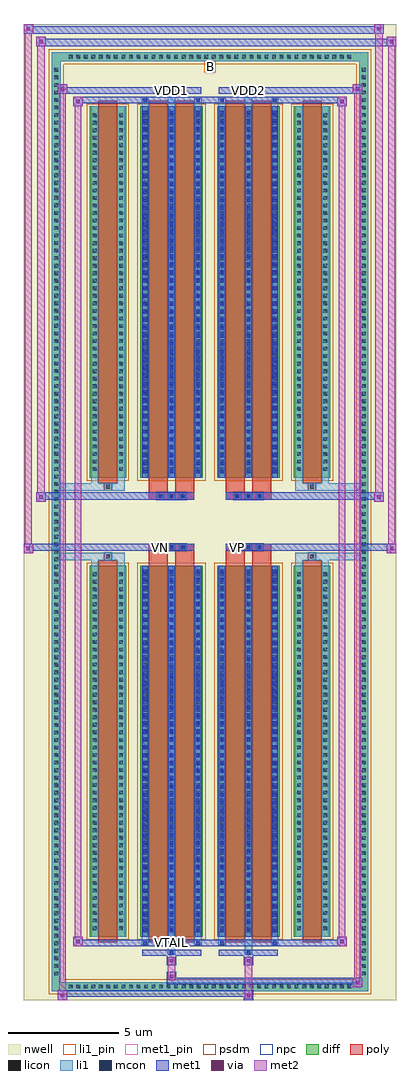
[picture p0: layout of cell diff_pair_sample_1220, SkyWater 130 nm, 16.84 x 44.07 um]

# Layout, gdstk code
import gdstk
lib = gdstk.Library(unit=1e-6, precision=5e-09)
def R(c, l, rs):  # rectangles x0, y0, x1, y1
    for r in rs: c.add(gdstk.rectangle(r[:2], r[2:], *l))
def A(c, l, x, y, w, h, nx, ny, dx, dy):  # array of equal rectangles
    R(c, l, [(x+i*dx, y+j*dy, x+i*dx+w, y+j*dy+h) for i in range(nx) for j in range(ny)])
def P(c, l, *ps):  # polygons
    for p in ps: c.add(gdstk.Polygon(p, *l))
nwell = (64, 20)
diff = (65, 20)
poly = (66, 20)
licon = (66, 44)
li1_pin = (67, 16)
li1 = (67, 20)
mcon = (67, 44)
met1_pin = (68, 16)
met1 = (68, 20)
via = (68, 44)
met2 = (69, 20)
psdm = (94, 20)
npc = (95, 20)

diff_pair_sample_1220 = lib.new_cell('diff_pair_sample_1220')
R(diff_pair_sample_1220, nwell, [(-8.42,-21.6,8.42,22.47), (-5.74,-19.79,-0.01,-0.795), (0.01,-19.79,5.74,-0.795), (-5.74,0.795,-0.01,19.79), (0.01,0.795,5.74,19.79)])
A(diff_pair_sample_1220, diff, -6.495, -21.2, 0.41, 0.41, 38, 2, 0.34, 41.99)
A(diff_pair_sample_1220, diff, -7.15, -20.605, 0.41, 0.41, 1, 121, 0, 0.34)
A(diff_pair_sample_1220, diff, 6.74, -20.605, 0.41, 0.41, 1, 121, 0, 0.34)
R(diff_pair_sample_1220, diff, [(-6.495,-21.2,6.495,-20.79), (-7.15,-20.605,-6.74,20.605), (6.74,-20.605,7.15,20.605), (-5.43,-18.745,-3.79,-1.985), (-3.15,-18.745,-0.32,-1.985), (0.32,-18.745,3.15,-1.985), (3.79,-18.745,5.43,-1.985), (-5.43,1.985,-3.79,18.745), (-3.15,1.985,-0.32,18.745), (0.32,1.985,3.15,18.745), (3.79,1.985,5.43,18.745), (-6.495,20.79,6.495,21.2)])
P(diff_pair_sample_1220, diff, [(7.15,21.2),(-7.15,21.2),(-7.15,-20.79),(-6.74,-20.79),(-6.74,20.79),(6.74,20.79),(6.74,-20.79),(-6.74,-20.79),(-7.15,-20.79),(-7.15,-21.2),(7.15,-21.2)])
A(diff_pair_sample_1220, poly, -2.4, -1.325, 0.33, 0.33, 3, 2, 0.5, 2.32)
A(diff_pair_sample_1220, poly, 1.07, -1.325, 0.33, 0.33, 3, 2, 0.5, 2.32)
R(diff_pair_sample_1220, poly, [(-5.04,-18.995,-4.18,-1.735), (-2.76,-18.995,-1.9,-1.735), (-1.57,-18.995,-0.71,-1.735), (0.71,-18.995,1.57,-1.735), (1.9,-18.995,2.76,-1.735), (4.18,-18.995,5.04,-1.735), (-4.775,-1.735,-4.445,-1.405), (-4.775,-1.735,-4.445,-1.405), (-2.76,-1.735,-1.9,-1.325), (-1.57,-1.735,-0.71,-1.325), (0.71,-1.735,1.57,-1.325), (1.9,-1.735,2.76,-1.325), (4.445,-1.735,4.775,-1.405), (4.445,-1.735,4.775,-1.405), (-2.76,-1.325,-0.71,-0.995), (0.71,-1.325,2.76,-0.995), (-2.76,0.995,-0.71,1.325), (0.71,0.995,2.76,1.325), (-2.76,1.325,-1.9,1.735), (-1.57,1.325,-0.71,1.735), (0.71,1.325,1.57,1.735), (1.9,1.325,2.76,1.735), (-4.775,1.405,-4.445,1.735), (-4.775,1.405,-4.445,1.735), (4.445,1.405,4.775,1.735), (4.445,1.405,4.775,1.735), (-5.04,1.735,-4.18,18.995), (-2.76,1.735,-1.9,18.995), (-1.57,1.735,-0.71,18.995), (0.71,1.735,1.57,18.995), (1.9,1.735,2.76,18.995), (4.18,1.735,5.04,18.995)])
A(diff_pair_sample_1220, licon, -6.375, -21.08, 0.17, 0.17, 38, 2, 0.34, 41.99)
A(diff_pair_sample_1220, licon, -7.03, -20.485, 0.17, 0.17, 1, 121, 0, 0.34)
A(diff_pair_sample_1220, licon, 6.86, -20.485, 0.17, 0.17, 1, 121, 0, 0.34)
A(diff_pair_sample_1220, licon, -5.29, -18.44, 0.17, 0.17, 1, 48, 0, 0.34)
A(diff_pair_sample_1220, licon, -4.1, -18.44, 0.17, 0.17, 1, 48, 0, 0.34)
A(diff_pair_sample_1220, licon, -3.01, -18.44, 0.17, 0.17, 3, 48, 1.19, 0.34)
A(diff_pair_sample_1220, licon, 0.46, -18.44, 0.17, 0.17, 3, 48, 1.19, 0.34)
A(diff_pair_sample_1220, licon, 3.93, -18.44, 0.17, 0.17, 1, 48, 0, 0.34)
A(diff_pair_sample_1220, licon, 5.12, -18.44, 0.17, 0.17, 1, 48, 0, 0.34)
A(diff_pair_sample_1220, licon, -2.32, -1.245, 0.17, 0.17, 3, 2, 0.5, 2.32)
A(diff_pair_sample_1220, licon, 1.15, -1.245, 0.17, 0.17, 3, 2, 0.5, 2.32)
A(diff_pair_sample_1220, licon, -5.29, 2.29, 0.17, 0.17, 1, 48, 0, 0.34)
A(diff_pair_sample_1220, licon, -4.1, 2.29, 0.17, 0.17, 1, 48, 0, 0.34)
A(diff_pair_sample_1220, licon, -3.01, 2.29, 0.17, 0.17, 3, 48, 1.19, 0.34)
A(diff_pair_sample_1220, licon, 0.46, 2.29, 0.17, 0.17, 3, 48, 1.19, 0.34)
A(diff_pair_sample_1220, licon, 3.93, 2.29, 0.17, 0.17, 1, 48, 0, 0.34)
A(diff_pair_sample_1220, licon, 5.12, 2.29, 0.17, 0.17, 1, 48, 0, 0.34)
R(diff_pair_sample_1220, licon, [(-4.695,-1.655,-4.525,-1.485), (4.525,-1.655,4.695,-1.485), (-4.695,1.485,-4.525,1.655), (4.525,1.485,4.695,1.655)])
R(diff_pair_sample_1220, li1_pin, [(-0.25,20.29,0.25,20.79)])
A(diff_pair_sample_1220, li1, -6.455, -21.16, 0.33, 0.33, 38, 2, 0.34, 41.99)
A(diff_pair_sample_1220, li1, -7.11, -20.565, 0.33, 0.33, 1, 121, 0, 0.34)
A(diff_pair_sample_1220, li1, 6.78, -20.565, 0.33, 0.33, 1, 121, 0, 0.34)
A(diff_pair_sample_1220, li1, -3.09, -18.745, 0.33, 16.76, 3, 2, 1.19, 20.73)
A(diff_pair_sample_1220, li1, 0.38, -18.745, 0.33, 16.76, 3, 2, 1.19, 20.73)
A(diff_pair_sample_1220, li1, -3.01, -18.55, 0.17, 0.17, 3, 46, 1.19, 0.36)
A(diff_pair_sample_1220, li1, -3.01, -18.55, 0.17, 16.37, 3, 2, 1.19, 20.73)
A(diff_pair_sample_1220, li1, 0.46, -18.55, 0.17, 0.17, 3, 46, 1.19, 0.36)
A(diff_pair_sample_1220, li1, 0.46, -18.55, 0.17, 16.37, 3, 2, 1.19, 20.73)
A(diff_pair_sample_1220, li1, -5.37, -18.52, 0.33, 0.33, 1, 48, 0, 0.34)
A(diff_pair_sample_1220, li1, -4.18, -18.52, 0.33, 0.33, 1, 48, 0, 0.34)
A(diff_pair_sample_1220, li1, -3.09, -18.52, 0.33, 0.33, 3, 48, 1.19, 0.34)
A(diff_pair_sample_1220, li1, 0.38, -18.52, 0.33, 0.33, 3, 48, 1.19, 0.34)
A(diff_pair_sample_1220, li1, 3.85, -18.52, 0.33, 0.33, 1, 48, 0, 0.34)
A(diff_pair_sample_1220, li1, 5.04, -18.52, 0.33, 0.33, 1, 48, 0, 0.34)
A(diff_pair_sample_1220, li1, -2.4, -1.325, 0.33, 0.33, 3, 2, 0.5, 2.32)
A(diff_pair_sample_1220, li1, 1.07, -1.325, 0.33, 0.33, 3, 2, 0.5, 2.32)
A(diff_pair_sample_1220, li1, -3.01, 2.18, 0.17, 0.17, 3, 46, 1.19, 0.36)
A(diff_pair_sample_1220, li1, 0.46, 2.18, 0.17, 0.17, 3, 46, 1.19, 0.36)
A(diff_pair_sample_1220, li1, -5.37, 2.21, 0.33, 0.33, 1, 48, 0, 0.34)
A(diff_pair_sample_1220, li1, -4.18, 2.21, 0.33, 0.33, 1, 48, 0, 0.34)
A(diff_pair_sample_1220, li1, -3.09, 2.21, 0.33, 0.33, 3, 48, 1.19, 0.34)
A(diff_pair_sample_1220, li1, 0.38, 2.21, 0.33, 0.33, 3, 48, 1.19, 0.34)
A(diff_pair_sample_1220, li1, 3.85, 2.21, 0.33, 0.33, 1, 48, 0, 0.34)
A(diff_pair_sample_1220, li1, 5.04, 2.21, 0.33, 0.33, 1, 48, 0, 0.34)
R(diff_pair_sample_1220, li1, [(-7.15,-21.2,-6.74,-20.79), (-7.15,-21.2,-6.74,-20.79), (-6.74,-21.2,6.74,-20.79), (6.74,-21.2,7.15,-20.79), (6.74,-21.2,7.15,-20.79), (-7.15,-20.79,-6.74,20.79), (6.74,-20.79,7.15,20.79), (-1.9,-19.55,-1.57,-18.745), (-1.82,-19.55,-1.65,-19.38), (1.57,-19.55,1.9,-18.745), (1.65,-19.55,1.82,-19.38), (-3.09,-19.12,-2.76,-18.745), (-3.01,-19.12,-2.84,-18.95), (-0.71,-19.12,-0.38,-18.745), (-0.63,-19.12,-0.46,-18.95), (0.38,-19.12,0.71,-18.745), (0.46,-19.12,0.63,-18.95), (2.76,-19.12,3.09,-18.745), (2.84,-19.12,3.01,-18.95), (-5.37,-18.745,-5.04,-1.985), (-4.18,-18.745,-3.85,-1.985), (3.85,-18.745,4.18,-1.985), (5.04,-18.745,5.37,-1.985), (-5.37,-1.985,-5.04,-1.405), (-4.18,-1.985,-3.85,-1.405), (3.85,-1.985,4.18,-1.405), (5.04,-1.985,5.37,-1.405), (-7.15,-1.735,-4.775,-1.405), (-5.37,-1.735,-4.775,-1.405), (-4.775,-1.735,-4.445,-1.405), (-4.445,-1.735,-3.85,-1.405), (3.85,-1.735,4.445,-1.405), (4.445,-1.735,4.775,-1.405), (4.445,-1.735,7.15,-1.405), (4.775,-1.735,5.37,-1.405), (-7.15,1.405,-4.775,1.735), (-5.37,1.405,-4.775,1.735), (-5.37,1.405,-5.04,1.985), (-4.775,1.405,-4.445,1.735), (-4.445,1.405,-3.85,1.735), (-4.18,1.405,-3.85,1.985), (3.85,1.405,4.445,1.735), (3.85,1.405,4.18,1.985), (4.445,1.405,4.775,1.735), (4.445,1.405,7.15,1.735), (4.775,1.405,5.37,1.735), (5.04,1.405,5.37,1.985), (-5.37,1.985,-5.04,18.745), (-4.18,1.985,-3.85,18.745), (3.85,1.985,4.18,18.745), (5.04,1.985,5.37,18.745), (-3.09,18.745,-2.76,19.12), (-1.9,18.745,-1.57,19.55), (-0.71,18.745,-0.38,19.12), (0.38,18.745,0.71,19.12), (1.57,18.745,1.9,19.55), (2.76,18.745,3.09,19.12), (-3.01,18.95,-2.84,19.12), (-0.63,18.95,-0.46,19.12), (0.46,18.95,0.63,19.12), (2.84,18.95,3.01,19.12), (-1.82,19.38,-1.65,19.55), (1.65,19.38,1.82,19.55), (-7.15,20.79,-6.74,21.2), (-7.15,20.79,-6.74,21.2), (-6.74,20.79,6.74,21.2), (6.74,20.79,7.15,21.2), (6.74,20.79,7.15,21.2)])
A(diff_pair_sample_1220, mcon, -3.01, -18.55, 0.17, 0.17, 3, 46, 1.19, 0.36)
A(diff_pair_sample_1220, mcon, 0.46, -18.55, 0.17, 0.17, 3, 46, 1.19, 0.36)
A(diff_pair_sample_1220, mcon, -2.32, -1.245, 0.17, 0.17, 3, 2, 0.5, 2.32)
A(diff_pair_sample_1220, mcon, 1.15, -1.245, 0.17, 0.17, 3, 2, 0.5, 2.32)
A(diff_pair_sample_1220, mcon, -3.01, 2.18, 0.17, 0.17, 3, 46, 1.19, 0.36)
A(diff_pair_sample_1220, mcon, 0.46, 2.18, 0.17, 0.17, 3, 46, 1.19, 0.36)
R(diff_pair_sample_1220, mcon, [(-1.82,-19.55,-1.65,-19.38), (1.65,-19.55,1.82,-19.38), (-3.01,-19.12,-2.84,-18.95), (-0.63,-19.12,-0.46,-18.95), (0.46,-19.12,0.63,-18.95), (2.84,-19.12,3.01,-18.95), (-3.01,18.95,-2.84,19.12), (-0.63,18.95,-0.46,19.12), (0.46,18.95,0.63,19.12), (2.84,18.95,3.01,19.12), (-1.82,19.38,-1.65,19.55), (1.65,19.38,1.82,19.55)])
R(diff_pair_sample_1220, met1_pin, [(-1.87,-19.16,-1.6,-18.89), (-2.37,-1.285,-2.1,-1.015), (1.1,-1.285,1.37,-1.015), (-1.87,19.34,-1.6,19.61), (1.6,19.34,1.87,19.61)])
A(diff_pair_sample_1220, met1, -3.07, -18.745, 0.29, 16.76, 3, 2, 1.19, 20.73)
A(diff_pair_sample_1220, met1, 0.4, -18.745, 0.29, 16.76, 3, 2, 1.19, 20.73)
A(diff_pair_sample_1220, met1, -3.07, -18.61, 0.29, 0.29, 3, 46, 1.19, 0.36)
A(diff_pair_sample_1220, met1, 0.4, -18.61, 0.29, 0.29, 3, 46, 1.19, 0.36)
A(diff_pair_sample_1220, met1, -2.38, -1.305, 0.29, 0.29, 3, 2, 0.5, 2.32)
A(diff_pair_sample_1220, met1, 1.09, -1.305, 0.29, 0.29, 3, 2, 0.5, 2.32)
A(diff_pair_sample_1220, met1, -3.07, 2.12, 0.29, 0.29, 3, 46, 1.19, 0.36)
A(diff_pair_sample_1220, met1, 0.4, 2.12, 0.29, 0.29, 3, 46, 1.19, 0.36)
R(diff_pair_sample_1220, met1, [(-6.88,-21.6,-6.45,-21.17), (1.52,-21.6,1.95,-21.17), (-6.88,-21.46,1.95,-21.17), (6.45,-21.03,6.88,-20.6), (-1.95,-20.89,6.88,-20.6), (-1.95,-20.75,-1.52,-20.32), (-1.95,-20.04,-1.52,-19.61), (1.52,-20.04,1.95,-19.61), (-3.07,-19.61,-0.4,-19.32), (-1.88,-19.61,-1.59,-19.32), (0.4,-19.61,3.07,-19.32), (1.59,-19.61,1.88,-19.32), (-6.17,-19.18,-5.74,-18.75), (-6.17,-19.18,-3.07,-18.89), (-3.07,-19.18,-2.78,-18.89), (-3.07,-19.18,-0.4,-18.89), (-0.69,-19.18,-0.4,-18.89), (-0.4,-19.18,0.4,-18.89), (0.4,-19.18,0.69,-18.89), (0.4,-19.18,3.07,-18.89), (2.78,-19.18,3.07,-18.89), (3.07,-19.18,6.17,-18.89), (5.74,-19.18,6.17,-18.75), (-8.42,-1.425,-7.99,-0.995), (7.99,-1.425,8.42,-0.995), (-8.42,-1.325,-0.71,-0.995), (-2.76,-1.325,-0.71,-0.995), (0.71,-1.325,2.76,-0.995), (0.71,-1.325,8.42,-0.995), (-7.85,0.895,-7.42,1.325), (7.42,0.895,7.85,1.325), (-7.85,0.995,-2.76,1.325), (-2.76,0.995,-0.71,1.325), (0.71,0.995,2.76,1.325), (2.76,0.995,7.85,1.325), (-6.17,18.75,-5.74,19.18), (5.74,18.75,6.17,19.18), (-6.17,18.89,-3.07,19.18), (-3.07,18.89,-2.78,19.18), (-3.07,18.89,-0.4,19.18), (-0.69,18.89,-0.4,19.18), (-0.4,18.89,0.4,19.18), (0.4,18.89,0.69,19.18), (0.4,18.89,3.07,19.18), (2.78,18.89,3.07,19.18), (3.07,18.89,6.17,19.18), (-6.88,19.32,-6.45,19.75), (-6.88,19.32,-3.07,19.61), (-3.07,19.32,-0.4,19.61), (-1.88,19.32,-1.59,19.61), (0.4,19.32,3.07,19.61), (1.59,19.32,1.88,19.61), (3.07,19.32,6.88,19.61), (6.45,19.32,6.88,19.75), (-7.85,21.47,-7.42,21.9), (-7.85,21.47,-5.74,21.8), (-5.74,21.47,5.74,21.8), (5.74,21.47,8.42,21.8), (7.99,21.47,8.42,21.9), (-8.42,22.04,-7.99,22.47), (-8.42,22.04,-5.74,22.37), (-5.74,22.04,5.74,22.37), (5.74,22.04,7.85,22.37), (7.42,22.04,7.85,22.47)])
R(diff_pair_sample_1220, via, [(-6.74,-21.46,-6.59,-21.31), (1.66,-21.46,1.81,-21.31), (6.59,-20.89,6.74,-20.74), (-1.81,-20.61,-1.66,-20.46), (-1.81,-19.9,-1.66,-19.75), (1.66,-19.9,1.81,-19.75), (-6.03,-19.04,-5.88,-18.89), (5.88,-19.04,6.03,-18.89), (-8.28,-1.285,-8.13,-1.135), (8.13,-1.285,8.28,-1.135), (-7.71,1.035,-7.56,1.185), (7.56,1.035,7.71,1.185), (-6.03,18.89,-5.88,19.04), (5.88,18.89,6.03,19.04), (-6.74,19.46,-6.59,19.61), (6.59,19.46,6.74,19.61), (-7.71,21.61,-7.56,21.76), (8.13,21.61,8.28,21.76), (-8.28,22.18,-8.13,22.33), (7.56,22.18,7.71,22.33)])
R(diff_pair_sample_1220, met2, [(-6.88,-21.6,-6.45,-21.17), (-6.81,-21.6,-6.52,19.75), (-6.52,-21.6,-6.45,-21.17), (-6.83,-21.55,-6.5,-21.22), (1.57,-21.55,1.9,-21.22), (1.57,-21.22,1.9,-19.99), (6.45,-21.03,6.88,-20.6), (6.52,-21.03,6.81,19.75), (6.81,-21.03,6.88,-20.6), (6.5,-20.98,6.83,-20.65), (-1.9,-20.7,-1.57,-20.37), (-1.9,-20.37,-1.57,-19.99), (-1.9,-19.99,-1.57,-19.66), (1.57,-19.99,1.9,-19.66), (-6.17,-19.18,-5.74,-18.75), (-6.1,-19.18,-5.81,19.18), (-5.81,-19.18,-5.74,-18.75), (5.74,-19.18,6.17,-18.75), (5.81,-19.18,6.1,19.18), (6.1,-19.18,6.17,-18.75), (-6.12,-19.13,-5.79,-18.8), (5.79,-19.13,6.12,-18.8), (-8.42,-1.425,-7.99,-0.995), (-8.37,-1.425,-8.04,22.47), (-8.04,-1.425,-7.99,-0.995), (7.99,-1.425,8.42,-0.995), (8.04,-1.425,8.37,21.9), (8.37,-1.425,8.42,-0.995), (-8.37,-1.375,-8.04,-1.045), (8.04,-1.375,8.37,-1.045), (-7.85,0.895,-7.42,1.325), (-7.8,0.895,-7.47,21.9), (-7.47,0.895,-7.42,1.325), (7.42,0.895,7.85,1.325), (7.47,0.895,7.8,22.47), (7.8,0.895,7.85,1.325), (-7.8,0.945,-7.47,1.275), (7.47,0.945,7.8,1.275), (-6.17,18.75,-5.74,19.18), (-5.81,18.75,-5.74,19.18), (5.74,18.75,6.17,19.18), (6.1,18.75,6.17,19.18), (-6.12,18.8,-5.79,19.13), (5.79,18.8,6.12,19.13), (-6.88,19.32,-6.45,19.75), (-6.52,19.32,-6.45,19.75), (6.45,19.32,6.88,19.75), (6.81,19.32,6.88,19.75), (-6.83,19.37,-6.5,19.7), (6.5,19.37,6.83,19.7), (-7.85,21.47,-7.42,21.9), (-7.47,21.47,-7.42,21.9), (7.99,21.47,8.42,21.9), (8.37,21.47,8.42,21.9), (-7.8,21.52,-7.47,21.85), (8.04,21.52,8.37,21.85), (-8.42,22.04,-7.99,22.47), (-8.04,22.04,-7.99,22.47), (7.42,22.04,7.85,22.47), (7.8,22.04,7.85,22.47), (-8.37,22.09,-8.04,22.42), (7.47,22.09,7.8,22.42)])
R(diff_pair_sample_1220, psdm, [(-5.56,-18.875,-3.66,-1.855), (-3.28,-18.875,-0.19,-1.855), (0.19,-18.875,3.28,-1.855), (3.66,-18.875,5.56,-1.855), (-5.56,1.855,-3.66,18.875), (-3.28,1.855,-0.19,18.875), (0.19,1.855,3.28,18.875), (3.66,1.855,5.56,18.875)])
P(diff_pair_sample_1220, psdm, [(7.28,21.33),(-7.28,21.33),(-7.28,-20.66),(-6.61,-20.66),(-6.61,20.66),(6.61,20.66),(6.61,-20.66),(-6.61,-20.66),(-7.28,-20.66),(-7.28,-21.33),(7.28,-21.33)])
A(diff_pair_sample_1220, npc, -2.42, -1.345, 0.37, 0.37, 3, 2, 0.5, 2.32)
A(diff_pair_sample_1220, npc, 1.05, -1.345, 0.37, 0.37, 3, 2, 0.5, 2.32)
R(diff_pair_sample_1220, npc, [(-4.795,-1.755,-4.425,-1.385), (4.425,-1.755,4.795,-1.385), (-2.42,-1.345,-1.55,-0.975), (-2.42,-1.345,-1.55,-0.975), (-1.92,-1.345,-1.05,-0.975), (-1.92,-1.345,-1.05,-0.975), (1.05,-1.345,1.92,-0.975), (1.05,-1.345,1.92,-0.975), (1.55,-1.345,2.42,-0.975), (1.55,-1.345,2.42,-0.975), (-2.42,0.975,-1.55,1.345), (-2.42,0.975,-1.55,1.345), (-1.92,0.975,-1.05,1.345), (-1.92,0.975,-1.05,1.345), (1.05,0.975,1.92,1.345), (1.05,0.975,1.92,1.345), (1.55,0.975,2.42,1.345), (1.55,0.975,2.42,1.345), (-4.795,1.385,-4.425,1.755), (4.425,1.385,4.795,1.755)])
diff_pair_sample_1220.add(gdstk.Label('VTAIL', (-1.735,-19.025), layer=68, texttype=5))
diff_pair_sample_1220.add(gdstk.Label('VN', (-2.235,-1.15), layer=68, texttype=5))
diff_pair_sample_1220.add(gdstk.Label('VP', (1.235,-1.15), layer=68, texttype=5))
diff_pair_sample_1220.add(gdstk.Label('B', (0,20.54), layer=67, texttype=5))
diff_pair_sample_1220.add(gdstk.Label('VDD2', (1.735,19.475), layer=68, texttype=5))
diff_pair_sample_1220.add(gdstk.Label('VDD1', (-1.735,19.475), layer=68, texttype=5))

lib.write_gds('diff_pair_sample_1220.gds')
